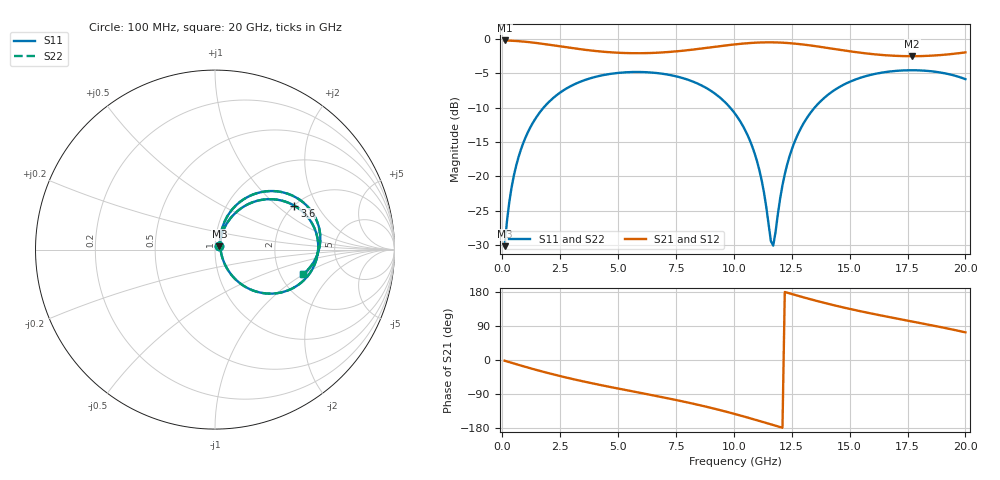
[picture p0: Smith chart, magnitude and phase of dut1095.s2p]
! Touchstone file exported from HFSS 2026.1.0
!  File:  C:/ffzhzh/LocalFiles/Ansys_Project_Files/temp_train_TSV_RDL_1095_1783302295_39728.aedt
!  Generated:  09:56:39 AM Jul  6, 2026
!  Design:  TSV_RDL
!  Project:  temp_train_TSV_RDL_1095_1783302295_39728
! Variables:
!  h_bsmrdl = 5.61um
!  h_ox = 20um
!  h_rdl = 5um
!  h_sub = 86.24um
!  h_tmrdl = 5.75um
!  h_tsv = 86.24um
!  h_via = 3um
!  l_bsmrdl = 116.07um
!  l_sub = 4730.02um
!  l_tmrdl = 973.38um
!  m_sub = 200um
!  pitch = 45.52um
!  r_tsv = 11.38um
!  s_tmrdl = 10um
!  w_bsmrdl = 18.43um
!  w_sub = 500um
!  w_tmrdl = 11um
!  x_tsv_center1 = 978.88um
!  x_tsv_center2 = 1113.38um
!  x_tsv_center3 = 2097.76um
!  x_tsv_center4 = 2232.26um
!  x_tsv_center5 = 3216.64um
!  x_tsv_center6 = 3351.14um
# GHz S MA R 50.000000
! Terminal data exported
! Port[1] = TM_RDL1_1_T1
! Port[2] = TM_RDL5_1_T1
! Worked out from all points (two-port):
!   200 points, 100 MHz to 20 GHz, reference 50 ohm
!   highest |S21| = -0.21 dB at 100 MHz (marker M1); lowest = -2.5 dB at 17.7 GHz (marker M2)
!   |S21| within 3 dB of the highest: start of sweep to end of sweep
!   lowest |S11| = -30.2 dB at 100 MHz (marker M3), VSWR 1.06, Z = 52.4 + j2.04 ohm
!   |S11| at or under -10 dB: start of sweep to 1.782 GHz; 9.843 GHz to 13.49 GHz (3.644 GHz wide, 31.2 % of centre)
!   |S22| runs from -30.2 to -4.5 dB; largest |S21 - S12| = 1.5e-14
!   S11 on the Smith chart (normalised r, x): 100 MHz: 1.05, +0.04; 3.6 GHz: 2.00, +1.32; 20 GHz: 2.67, -0.99
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0.1  0.03105 38.8  0.9763 -1.9  0.9763 -1.9  0.03105 38.8
! Gamma 0 0 0 0
! Port Impedance 50 0 50 0
0.3  0.06462 62.2  0.9738 -5.6  0.9738 -5.6  0.06462 62.2
0.5  0.1014 66.3  0.9699 -9.2  0.9699 -9.2  0.1014 66.3
1.1  0.2088 62.7  0.9514 -19.9  0.9514 -19.9  0.2088 62.7
2.1  0.3597 49.1  0.9048 -36.4  0.9048 -36.4  0.3597 49.1
3.5  0.4983 30.3  0.8375 -56.5  0.8375 -56.5  0.4983 30.3
3.6  0.5052 29.0  0.8334 -57.9  0.8334 -57.9  0.5052 29.0
5.2  0.5705 10.0  0.7918 -77.7  0.7918 -77.7  0.5705 10.0
6.8  0.5623 -8.1  0.7966 -96.8  0.7966 -96.8  0.5623 -8.2
8.7  0.4507 -31.3  0.8566 -121.7  0.8566 -121.7  0.4507 -31.4
10.1  0.2787 -49.9  0.9163 -143.4  0.9163 -143.4  0.2787 -50.0
11  0.1291 -57.5  0.9416 -159.0  0.9416 -159.0  0.1291 -57.6
11.3  0.0766 -52.7  0.9452 -164.4  0.9452 -164.4  0.0765 -53.0
11.6  0.03378 -15.6  0.9459 -169.8  0.9459 -169.8  0.03351 -15.9
11.7  0.03133 16.1  0.9455 -171.6  0.9455 -171.6  0.03103 16.2
12.1  0.08625 68.5  0.9403 -178.8  0.9403 -178.8  0.08612 68.7
12.4  0.1392 71.5  0.9332 175.9  0.9332 175.9  0.1391 71.6
13.4  0.3036 62.0  0.8936 158.8  0.8936 158.8  0.3035 62.1
14.9  0.4792 42.5  0.819 136.3  0.819 136.3  0.4792 42.5
16.7  0.5792 21.4  0.7589 113.4  0.7589 113.4  0.5792 21.4
17.7  0.5926 10.5  0.7498 101.6  0.7498 101.6  0.5926 10.5
20  0.5105 -15.5  0.7992 73.0  0.7992 73.0  0.5106 -15.5
